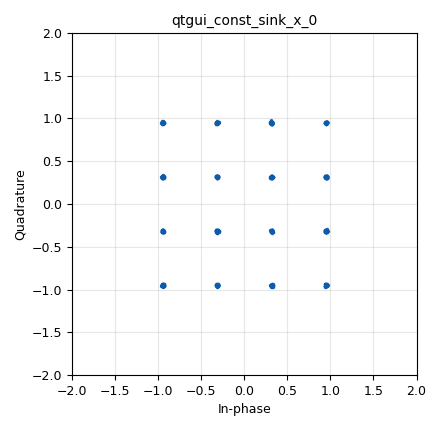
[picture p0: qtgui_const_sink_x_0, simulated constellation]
options:
  parameters:
    generate_options: qt_gui
    id: mer_probe_ai
    output_language: python
    title: Not titled yet
  states: {}

blocks:
- name: qe
  id: variable_qtgui_range
  parameters:
    start: '0'
    step: '.001'
    stop: '5'
    value: '0'
  states: {}
- name: samp_rate
  id: variable
  parameters:
    value: '32000'
  states: {}
- name: analog_random_source_x_0
  id: analog_random_source_x
  parameters:
    max: '16'
    min: '0'
    num_samps: '1000'
    repeat: 'True'
    type: byte
  states: {}
- name: channels_channel_model_0
  id: channels_channel_model
  parameters:
    epsilon: '1.0'
    freq_offset: '0.0'
    noise_voltage: '10e-3'
    seed: '0'
    taps: '1.0'
  states: {}
- name: channels_impairments_0
  id: channels_impairments
  parameters:
    freq_offset: '0'
    gamma: '0'
    i_ofs: '0'
    magbal: '0'
    phase_noise_mag: '-40'
    phasebal: qe
    q_ofs: '0'
  states: {}
- name: digital_chunks_to_symbols_xx_0
  id: digital_chunks_to_symbols_xx
  parameters:
    dimension: '1'
    in_type: byte
    out_type: complex
    symbol_table: '[0.9487+0.9487j,0.9487+0.3162j, 0.3162+0.9487j, 0.3162 +0.3162j,0.9487-0.9487j,0.9487- 0.3162j, 0.3162-0.9487j, 0.3162- 0.3162j,-0.9487+0.9487j,-0.9487+ 0.3162j,- 0.3162+0.9487j,- 0.3162+ 0.3162j,-0.9487-0.9487j,-0.9487- 0.3162j,-0.3162-0.9487j,-0.3162- 0.3162j]'
  states: {}
- name: mer_probe_ste_cf_0
  id: mer_probe_ste_cf
  parameters:
    alpha: '0.05'
    symbol_table: '[0.9487+0.9487j,0.9487+0.3162j, 0.3162+0.9487j, 0.3162 +0.3162j,0.9487-0.9487j,0.9487- 0.3162j, 0.3162-0.9487j, 0.3162- 0.3162j,-0.9487+0.9487j,-0.9487+ 0.3162j,- 0.3162+0.9487j,- 0.3162+ 0.3162j,-0.9487-0.9487j,-0.9487- 0.3162j,-0.3162-0.9487j,-0.3162- 0.3162j]'
  states: {}
- name: qtgui_const_sink_x_0
  id: qtgui_const_sink_x
  parameters:
    size: '1024'
    type: complex
  states: {}
- name: qtgui_number_sink_0
  id: qtgui_number_sink
  parameters:
    graph_type: qtgui.NUM_GRAPH_HORIZ
    min: '0'
    name: '"STE"'
    type: float
  states: {}
- name: qtgui_number_sink_0_0
  id: qtgui_number_sink
  parameters:
    graph_type: qtgui.NUM_GRAPH_HORIZ
    min: '0'
    name: '"STEM"'
    type: float
  states: {}
- name: qtgui_number_sink_0_0_0
  id: qtgui_number_sink
  parameters:
    graph_type: qtgui.NUM_GRAPH_HORIZ
    min: '0'
    name: '"STED"'
    type: float
  states: {}

connections:
- [analog_random_source_x_0, '0', digital_chunks_to_symbols_xx_0, '0']
- [channels_channel_model_0, '0', mer_probe_ste_cf_0, '0']
- [channels_channel_model_0, '0', qtgui_const_sink_x_0, '0']
- [channels_impairments_0, '0', channels_channel_model_0, '0']
- [digital_chunks_to_symbols_xx_0, '0', channels_impairments_0, '0']
- [mer_probe_ste_cf_0, '0', qtgui_number_sink_0, '0']
- [mer_probe_ste_cf_0, '1', qtgui_number_sink_0_0, '0']
- [mer_probe_ste_cf_0, '2', qtgui_number_sink_0_0_0, '0']

metadata:
  file_format: 1
  grc_version: 3.9.8.0
